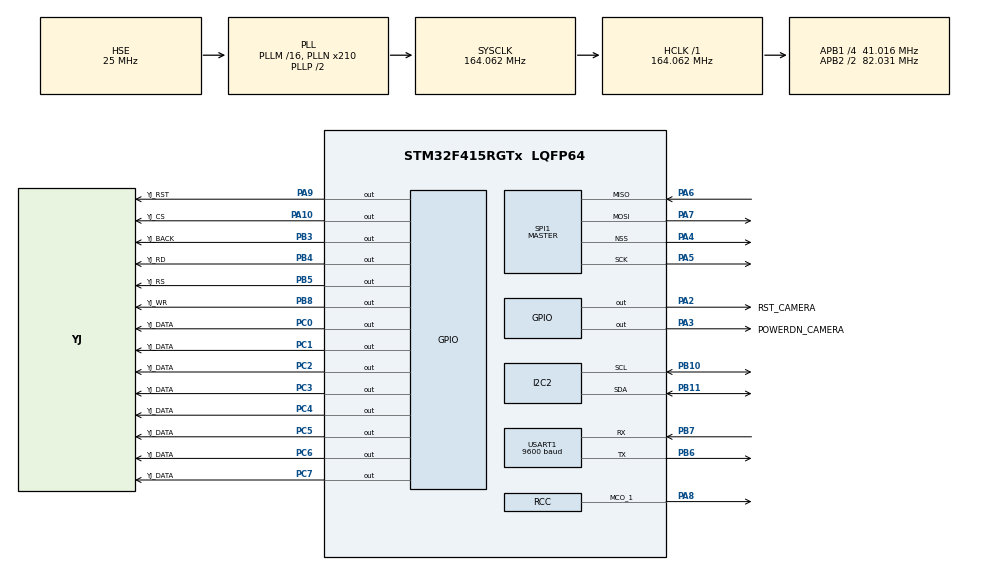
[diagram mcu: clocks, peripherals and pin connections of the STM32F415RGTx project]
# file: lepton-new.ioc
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Mcu.Family=STM32F4
Mcu.Name=STM32F415RGTx
Mcu.Package=LQFP64
NVIC.PriorityGroup=NVIC_PRIORITYGROUP_4
NVIC.TIM7_IRQn=true\:0\:0\:false\:false\:true
PA10.GPIO_Label=YJ_CS
PA10.GPIO_PuPd=GPIO_PULLUP
PA10.GPIO_Speed=GPIO_SPEED_FREQ_HIGH
PA10.Signal=GPIO_Output
PA2.GPIO_Label=RST_CAMERA
PA2.GPIO_PuPd=GPIO_PULLUP
PA2.GPIO_Speed=GPIO_SPEED_FREQ_HIGH
PA2.Signal=GPIO_Output
PA3.GPIO_Label=POWERDN_CAMERA
PA3.GPIO_PuPd=GPIO_PULLUP
PA3.GPIO_Speed=GPIO_SPEED_FREQ_HIGH
PA3.Signal=GPIO_Output
PA4.Mode=NSS_Signal_Hard_Output
PA4.Signal=SPI1_NSS
PA5.Mode=Full_Duplex_Master
PA5.Signal=SPI1_SCK
PA6.Mode=Full_Duplex_Master
PA6.Signal=SPI1_MISO
PA7.Mode=Full_Duplex_Master
PA7.Signal=SPI1_MOSI
PA8.Mode=Clock-out-1
PA8.Signal=RCC_MCO_1
PA9.GPIO_Label=YJ_RST
PA9.GPIO_PuPd=GPIO_PULLUP
PA9.GPIO_Speed=GPIO_SPEED_FREQ_HIGH
PA9.Signal=GPIO_Output
PB10.Mode=I2C
PB10.Signal=I2C2_SCL
PB11.Mode=I2C
PB11.Signal=I2C2_SDA
PB3.GPIO_Label=YJ_BACK
PB3.GPIO_PuPd=GPIO_PULLUP
PB3.GPIO_Speed=GPIO_SPEED_FREQ_HIGH
PB3.Signal=GPIO_Output
PB4.GPIO_Label=YJ_RD
PB4.GPIO_PuPd=GPIO_PULLUP
PB4.GPIO_Speed=GPIO_SPEED_FREQ_HIGH
PB4.Signal=GPIO_Output
PB5.GPIO_Label=YJ_RS
PB5.GPIO_PuPd=GPIO_PULLUP
PB5.GPIO_Speed=GPIO_SPEED_FREQ_HIGH
PB5.Signal=GPIO_Output
PB6.Mode=Asynchronous
PB6.Signal=USART1_TX
PB7.Mode=Asynchronous
PB7.Signal=USART1_RX
PB8.GPIO_Label=YJ_WR
PB8.GPIO_PuPd=GPIO_PULLUP
PB8.GPIO_Speed=GPIO_SPEED_FREQ_HIGH
PB8.Signal=GPIO_Output
PC0.GPIO_Label=YJ_DATA
PC0.GPIO_PuPd=GPIO_PULLUP
PC0.GPIO_Speed=GPIO_SPEED_FREQ_HIGH
PC0.Signal=GPIO_Output
PC1.GPIO_Label=YJ_DATA
PC1.GPIO_PuPd=GPIO_PULLUP
PC1.GPIO_Speed=GPIO_SPEED_FREQ_HIGH
PC1.Signal=GPIO_Output
PC2.GPIO_Label=YJ_DATA
PC2.GPIO_PuPd=GPIO_PULLUP
PC2.GPIO_Speed=GPIO_SPEED_FREQ_HIGH
PC2.Signal=GPIO_Output
PC3.GPIO_Label=YJ_DATA
PC3.GPIO_PuPd=GPIO_PULLUP
PC3.GPIO_Speed=GPIO_SPEED_FREQ_HIGH
PC3.Signal=GPIO_Output
PC4.GPIO_Label=YJ_DATA
PC4.GPIO_PuPd=GPIO_PULLUP
PC4.GPIO_Speed=GPIO_SPEED_FREQ_HIGH
PC4.Signal=GPIO_Output
PC5.GPIO_Label=YJ_DATA
PC5.GPIO_PuPd=GPIO_PULLUP
PC5.GPIO_Speed=GPIO_SPEED_FREQ_HIGH
PC5.Signal=GPIO_Output
PC6.GPIO_Label=YJ_DATA
PC6.GPIO_PuPd=GPIO_PULLUP
PC6.GPIO_Speed=GPIO_SPEED_FREQ_HIGH
PC6.Signal=GPIO_Output
PC7.GPIO_Label=YJ_DATA
PC7.GPIO_PuPd=GPIO_PULLUP
PC7.GPIO_Speed=GPIO_SPEED_FREQ_HIGH
PC7.Signal=GPIO_Output
PH0-OSC_IN.Mode=HSE-External-Oscillator
PH0-OSC_IN.Signal=RCC_OSC_IN
PH1-OSC_OUT.Mode=HSE-External-Oscillator
PH1-OSC_OUT.Signal=RCC_OSC_OUT
ProjectManager.HeapSize=0x200
ProjectManager.StackSize=0x400
ProjectManager.TargetToolchain=MDK-ARM V5
RCC.48MHZClocksFreq_Value=82031250
RCC.AHBFreq_Value=164062500
RCC.APB1CLKDivider=RCC_HCLK_DIV4
RCC.APB1Freq_Value=41015625
RCC.APB1TimFreq_Value=82031250
RCC.APB2CLKDivider=RCC_HCLK_DIV2
RCC.APB2Freq_Value=82031250
RCC.APB2TimFreq_Value=164062500
RCC.CortexFreq_Value=164062500
RCC.EnbaleCSS=true
RCC.HCLKFreq_Value=164062500
RCC.HSE_VALUE=25000000
RCC.HSI_VALUE=16000000
RCC.LSE_VALUE=32768
RCC.PLLN=210
RCC.PLLSourceVirtual=RCC_PLLSOURCE_HSE
RCC.RCC_MCO1Source=RCC_MCO1SOURCE_HSE
RCC.SYSCLKFreq_VALUE=164062500
RCC.SYSCLKSource=RCC_SYSCLKSOURCE_PLLCLK
RCC.VCOOutputFreq_Value=328125000
SPI1.BaudRatePrescaler=SPI_BAUDRATEPRESCALER_8
SPI1.CLKPhase=SPI_PHASE_2EDGE
SPI1.CLKPolarity=SPI_POLARITY_HIGH
SPI1.CalculateBaudRate=10.253906 MBits/s
SPI1.DataSize=SPI_DATASIZE_16BIT
SPI1.Mode=SPI_MODE_MASTER
SPI1.VirtualNSS=VM_NSSHARD
TIM7.Period=4000
TIM7.Prescaler=8400
USART1.BaudRate=9600
USART1.OverSampling=UART_OVERSAMPLING_8
VP_TIM7_VS_ClockSourceINT.Mode=Enable_Timer
board=lepton-new

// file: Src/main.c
/**
  ******************************************************************************
  * File Name          : main.c
  * Description        : Main program body
  ******************************************************************************
  *
  * COPYRIGHT(c) 2016 STMicroelectronics
  *
  * Redistribution and use in source and binary forms, with or without modification,
  * are permitted provided that the following conditions are met:
  *   1. Redistributions of source code must retain the above copyright notice,
  *      this list of conditions and the following disclaimer.
  *   2. Redistributions in binary form must reproduce the above copyright notice,
  *      this list of conditions and the following disclaimer in the documentation
  *      and/or other materials provided with the distribution.
  *   3. Neither the name of STMicroelectronics nor the names of its contributors
  *      may be used to endorse or promote products derived from this software
  *      without specific prior written permission.
  *
  * THIS SOFTWARE IS PROVIDED BY THE COPYRIGHT HOLDERS AND CONTRIBUTORS "AS IS"
  * AND ANY EXPRESS OR IMPLIED WARRANTIES, INCLUDING, BUT NOT LIMITED TO, THE
  * IMPLIED WARRANTIES OF MERCHANTABILITY AND FITNESS FOR A PARTICULAR PURPOSE ARE
  * DISCLAIMED. IN NO EVENT SHALL THE COPYRIGHT HOLDER OR CONTRIBUTORS BE LIABLE
  * FOR ANY DIRECT, INDIRECT, INCIDENTAL, SPECIAL, EXEMPLARY, OR CONSEQUENTIAL
  * DAMAGES (INCLUDING, BUT NOT LIMITED TO, PROCUREMENT OF SUBSTITUTE GOODS OR
  * SERVICES; LOSS OF USE, DATA, OR PROFITS; OR BUSINESS INTERRUPTION) HOWEVER
  * CAUSED AND ON ANY THEORY OF LIABILITY, WHETHER IN CONTRACT, STRICT LIABILITY,
  * OR TORT (INCLUDING NEGLIGENCE OR OTHERWISE) ARISING IN ANY WAY OUT OF THE USE
  * OF THIS SOFTWARE, EVEN IF ADVISED OF THE POSSIBILITY OF SUCH DAMAGE.
  *
  ******************************************************************************
  */
#include "stm32f4xx_hal.h"

/* USER CODE BEGIN Includes */

#include "stm32f4xx_it.h"
#include "TL1771_Driver.h"
#include "config.h"
#include "lepton_driver.h"
#include "LEPTON_SDK.h"
#include "LEPTON_SYS.h"
#include "lepton_i2c.h"
#include "LEPTON_I2C_REG.h"
#include "stdio.h"
#include "LEPTON_AGC.h"
#include "img_process.h"
#include "template_match.h"
#include "radon.h"

/* USER CODE END Includes */

I2C_HandleTypeDef hi2c2;

SPI_HandleTypeDef hspi1;

TIM_HandleTypeDef htim7;

UART_HandleTypeDef huart1;

/* USER CODE BEGIN PV */
/* Private variables ---------------------------------------------------------*/

const uint16_t imageT1[60][80]={
{0,0,0,0,0,0,0,0,0,0,0,0,0,0,0,0,0,0,0,0,0,0,0,0,0,0,0,0,0,0,0,0,0,0,0,0,0,0,0,0,0,0,0,0,0,0,0,0,0,0,0,0,0,0,0,0,0,0,0,0,0,0,0,0,0,0,0,0,0,0,0,0,0,0,0,0,0,0,0,0},
{0,0,0,0,0,0,0,0,0,0,0,0,0,0,0,0,0,0,0,0,0,0,0,0,0,0,0,0,0,0,0,0,0,0,0,0,0,0,0,0,0,0,0,0,0,0,0,0,0,0,0,0,0,0,0,0,0,0,0,0,0,0,0,0,0,0,0,0,0,0,0,0,0,0,0,0,0,0,0,0},
{0,0,0,0,0,0,0,0,0,0,0,0,0,0,0,0,0,0,0,0,0,0,0,0,0,0,0,0,0,0,0,0,0,0,0,0,0,0,0,0,0,0,0,0,0,0,0,0,0,0,0,0,0,0,0,0,0,0,0,0,0,0,0,0,0,0,0,0,0,0,0,0,0,0,0,0,0,0,0,0},
{0,0,0,0,0,0,0,0,0,0,0,0,0,0,0,0,0,0,0,0,0,0,0,0,0,0,0,0,0,0,0,0,0,0,0,0,0,0,0,0,0,0,0,0,0,0,0,0,0,0,0,0,0,0,0,0,0,0,0,0,0,0,0,0,0,0,0,0,0,0,0,0,0,0,0,0,0,0,0,0},
{0,0,0,0,0,0,0,0,0,0,0,0,0,0,0,0,0,0,0,0,0,0,0,0,0,0,0,0,0,0,0,0,0,0,0,0,0,0,0,0,0,0,0,0,0,0,0,0,0,0,0,0,0,0,0,0,0,0,0,0,0,0,0,0,0,0,0,0,0,0,0,0,0,0,0,0,0,0,0,0},
{0,0,0,0,0,0,0,0,0,0,0,0,0,0,0,0,0,0,0,0,0,0,0,0,0,0,0,0,0,0,0,0,0,0,0,0,0,0,0,0,0,0,0,0,0,0,0,0,0,0,0,0,0,0,0,0,0,0,0,0,0,0,0,0,0,0,0,0,0,0,0,0,0,0,0,0,0,0,0,0},
{0,0,0,0,0,0,0,0,0,0,0,0,0,0,0,0,0,0,0,0,0,0,0,0,0,0,0,0,0,0,0,0,0,0,0,0,0,0,0,0,0,0,0,0,0,0,0,0,0,0,0,0,0,0,0,0,0,0,0,0,0,0,0,0,0,0,0,0,0,0,0,0,0,0,0,0,0,0,0,0},
{0,0,0,0,0,0,0,0,0,0,0,0,0,0,0,0,0,0,0,0,0,0,0,0,0,0,0,0,0,0,0,0,0,0,0,0,0,0,0,0,0,0,0,0,0,0,0,0,0,0,0,0,0,0,0,0,0,0,0,0,0,0,0,0,0,0,0,0,0,0,0,0,0,0,0,0,0,0,0,0},
{0,0,0,0,0,0,0,0,0,0,0,0,0,0,0,0,0,0,0,0,0,0,0,0,0,0,0,0,0,0,0,0,0,0,0,0,0,0,0,0,0,0,0,0,0,0,0,0,0,0,0,0,0,0,0,0,0,0,0,0,0,0,0,0,0,0,0,0,0,0,0,0,0,0,0,0,0,0,0,0},
{0,0,0,0,0,0,0,0,0,0,0,0,0,0,0,0,0,0,0,0,0,0,0,0,0,0,0,0,0,0,0,0,0,0,0,0,0,0,0,0,0,0,0,0,0,0,0,0,0,0,0,0,0,0,0,0,0,0,0,0,0,0,0,0,0,0,0,0,0,0,0,0,0,0,0,0,0,0,0,0},
{0,0,0,0,0,0,0,0,0,0,0,0,0,0,0,0,0,0,0,0,0,0,0,0,0,0,0,0,0,0,0,0,0,0,0,0,0,0,0,0,0,0,0,0,0,0,0,0,0,0,0,0,0,0,0,0,0,0,0,0,0,0,0,0,0,0,0,0,0,0,0,0,0,0,0,0,0,0,0,0},
{0,0,0,0,0,0,0,0,0,0,0,0,0,0,0,0,0,0,0,0,0,0,0,0,0,0,0,1,1,1,0,0,0,0,0,0,0,0,0,0,0,0,0,0,0,0,0,0,0,0,0,0,0,0,0,0,0,0,0,0,0,0,0,0,0,0,0,0,0,0,0,0,0,0,0,0,0,0,0,0},
{0,0,0,0,0,0,0,0,0,0,0,0,0,0,0,0,0,0,0,0,0,0,0,0,0,0,1,1,1,1,0,0,0,0,0,0,0,0,0,0,0,0,0,0,0,0,0,0,0,0,0,0,0,0,0,0,0,0,0,0,0,0,0,0,0,0,0,0,0,0,0,0,0,0,0,0,0,0,0,0},
{0,0,0,0,0,0,0,0,0,0,0,0,0,0,0,0,0,0,0,0,0,0,0,0,1,1,1,1,1,0,0,0,0,0,0,0,0,0,0,0,0,0,0,0,0,0,0,0,0,0,0,0,0,0,0,0,0,0,0,0,0,0,0,0,0,0,0,0,0,0,0,0,0,0,0,0,0,0,0,0},
{0,0,0,0,0,0,0,0,0,0,0,0,0,0,0,0,0,0,0,0,0,0,1,1,1,1,1,0,0,0,0,0,0,0,0,0,0,0,0,0,0,0,0,0,0,0,0,0,0,0,0,0,0,0,0,0,0,0,0,0,0,0,0,0,0,0,0,0,0,0,0,0,0,0,0,0,0,0,0,0},
{0,0,0,0,0,0,0,0,0,0,0,0,0,0,0,0,0,0,0,0,0,1,1,1,1,0,0,0,0,0,0,0,0,0,0,0,0,0,0,0,0,0,0,0,0,0,0,0,0,0,0,0,0,0,0,0,0,0,0,0,0,0,0,0,0,0,0,0,0,0,0,0,0,0,0,0,0,0,0,0},
{0,0,0,0,0,0,0,0,0,0,0,0,0,0,0,0,0,0,0,1,1,1,1,1,0,0,0,0,0,0,0,0,0,0,0,0,0,0,0,0,0,0,0,0,0,0,0,0,0,0,0,0,0,0,0,0,0,0,0,0,0,0,0,0,0,0,0,0,0,0,0,0,0,0,0,0,0,0,0,0},
{0,0,0,0,0,0,0,0,0,0,0,0,0,0,0,0,0,1,1,1,1,1,1,1,1,0,0,0,0,0,0,0,0,0,0,0,0,0,0,0,0,0,0,0,0,0,0,0,0,0,0,0,0,0,0,0,0,0,0,0,0,0,0,0,0,0,0,0,0,0,0,0,0,0,0,0,0,0,0,0},
{0,0,0,0,0,0,0,0,0,0,0,0,0,0,0,0,1,1,1,1,0,1,1,1,1,0,0,0,0,0,0,0,0,0,0,0,0,0,0,0,0,0,0,0,0,0,0,0,0,0,0,0,0,0,0,0,0,0,0,0,0,0,0,0,0,0,0,0,0,0,0,0,0,0,0,0,0,0,0,0},
{0,0,0,0,0,0,0,0,0,0,0,0,0,0,1,1,1,1,1,0,0,0,1,1,1,1,0,0,0,0,0,0,0,0,0,0,0,0,0,0,0,0,0,0,0,0,0,0,0,0,0,0,0,0,0,0,0,0,0,0,0,0,0,0,0,0,0,0,0,0,0,0,0,0,0,0,0,0,0,0},
{0,0,0,0,0,0,0,0,0,0,0,0,0,0,1,1,1,0,0,0,0,0,1,1,1,1,1,0,0,0,0,0,0,0,0,0,0,0,0,0,0,0,0,0,0,0,0,0,0,0,0,0,0,0,0,0,0,0,0,0,0,0,0,0,0,0,0,0,0,0,0,0,0,0,0,0,0,0,0,0},
{0,0,0,0,0,0,0,0,0,0,0,0,0,0,1,1,0,0,0,0,0,0,0,1,1,1,1,0,0,0,0,0,0,0,0,0,0,0,0,0,0,0,0,0,0,0,0,0,0,0,0,0,0,0,0,0,0,0,0,0,0,0,0,0,0,0,0,0,0,0,0,0,0,0,0,0,0,0,0,0},
{0,0,0,0,0,0,0,0,0,0,0,0,0,0,0,0,0,0,0,0,0,0,0,0,1,1,1,1,0,0,0,0,0,0,0,0,0,0,0,0,0,0,0,0,0,0,0,0,0,0,0,0,0,0,0,0,0,0,0,0,0,0,0,0,0,0,0,0,0,0,0,0,0,0,0,0,0,0,0,0},
{0,0,0,0,0,0,0,0,0,0,0,0,0,0,0,0,0,0,0,0,0,0,0,0,1,1,1,1,1,0,0,0,0,0,0,0,0,0,0,0,0,0,0,0,0,0,0,0,0,0,0,0,0,0,0,0,0,0,0,0,0,0,0,0,0,0,0,0,0,0,0,0,0,0,0,0,0,0,0,0},
{0,0,0,0,0,0,0,0,0,0,0,0,0,0,0,0,0,0,0,0,0,0,0,0,0,1,1,1,1,0,0,0,0,0,0,0,0,0,0,0,0,0,0,0,0,0,0,0,0,0,0,0,0,0,0,0,0,0,0,0,0,0,0,0,0,0,0,0,0,0,0,0,0,0,0,0,0,0,0,0},
{0,0,0,0,0,0,0,0,0,0,0,0,0,0,0,0,0,0,0,0,0,0,0,0,0,1,1,1,1,1,0,0,0,0,0,0,0,0,0,0,0,0,0,0,0,0,0,0,0,0,0,0,0,0,0,0,0,0,0,0,0,0,0,0,0,0,0,0,0,0,0,0,0,0,0,0,0,0,0,0},
{0,0,0,0,0,0,0,0,0,0,0,0,0,0,0,0,0,0,0,0,0,0,0,0,0,0,1,1,1,1,0,0,0,0,0,0,0,0,0,0,0,0,0,0,0,0,0,0,0,0,0,0,0,0,0,0,0,0,0,0,0,0,0,0,0,0,0,0,0,0,0,0,0,0,0,0,0,0,0,0},
{0,0,0,0,0,0,0,0,0,0,0,0,0,0,0,0,0,0,0,0,0,0,0,0,0,0,0,1,1,1,1,0,0,0,0,0,0,0,0,0,0,0,0,0,0,0,0,0,0,0,0,0,0,0,0,0,0,0,0,0,0,0,0,0,0,0,0,0,0,0,0,0,0,0,0,0,0,0,0,0},
{0,0,0,0,0,0,0,0,0,0,0,0,0,0,0,0,0,0,0,0,0,0,0,0,0,0,0,1,1,1,1,1,0,0,0,0,0,0,0,0,0,0,0,0,0,0,0,0,0,0,0,0,0,0,0,0,0,0,0,0,0,0,0,0,0,0,0,0,0,0,0,0,0,0,0,0,0,0,0,0},
{0,0,0,0,0,0,0,0,0,0,0,0,0,0,0,0,0,0,0,0,0,0,0,0,0,0,0,0,1,1,1,1,0,0,0,0,0,0,0,0,0,0,0,0,0,0,0,0,0,0,0,0,0,0,0,0,0,0,0,0,0,0,0,0,0,0,0,0,0,0,0,0,0,0,0,0,0,0,0,0},
{0,0,0,0,0,0,0,0,0,0,0,0,0,0,0,0,0,0,0,0,0,0,0,0,0,0,0,0,0,1,1,1,0,0,0,0,0,0,0,0,0,0,0,0,0,0,0,0,0,0,0,0,0,0,0,0,0,0,0,0,0,0,0,0,0,0,0,0,0,0,0,0,0,0,0,0,0,0,0,0},
{0,0,0,0,0,0,0,0,0,0,0,0,0,0,0,0,0,0,0,0,0,0,0,0,0,0,0,0,0,1,0,0,0,0,0,0,0,0,0,0,0,0,0,0,0,0,0,0,0,0,0,0,0,0,0,0,0,0,0,0,0,0,0,0,0,0,0,0,0,0,0,0,0,0,0,0,0,0,0,0},
{0,0,0,0,0,0,0,0,0,0,0,0,0,0,0,0,0,0,0,0,0,0,0,0,0,0,0,0,0,0,0,0,0,0,0,0,0,0,0,0,0,0,0,0,0,0,0,0,0,0,0,0,0,0,0,0,0,0,0,0,0,0,0,0,0,0,0,0,0,0,0,0,0,0,0,0,0,0,0,0},
{0,0,0,0,0,0,0,0,0,0,0,0,0,0,0,0,0,0,0,0,0,0,0,0,0,0,0,0,0,0,0,0,0,0,0,0,0,0,0,0,0,0,0,0,0,0,0,0,0,0,0,0,0,0,0,0,0,0,0,0,0,0,0,0,0,0,0,0,0,0,0,0,0,0,0,0,0,0,0,0},
{0,0,0,0,0,0,0,0,0,0,0,0,0,0,0,0,0,0,0,0,0,0,0,0,0,0,0,0,0,0,0,0,0,0,0,0,0,0,0,0,0,0,0,0,0,0,0,0,0,0,0,0,0,0,0,0,0,0,0,0,0,0,0,0,0,0,0,0,0,0,0,0,0,0,0,0,0,0,0,0},
{0,0,0,0,0,0,0,0,0,0,0,0,0,0,0,0,0,0,0,0,0,0,0,0,0,0,0,0,0,0,0,0,0,0,0,0,0,0,0,0,0,0,0,0,0,0,0,0,0,0,0,0,0,0,0,0,0,0,0,0,0,0,0,0,0,0,0,0,0,0,0,0,0,0,0,0,0,0,0,0},
{0,0,0,0,0,0,0,0,0,0,0,0,0,0,0,0,0,0,0,0,0,0,0,0,0,0,0,0,0,0,0,0,0,0,0,0,0,0,0,0,0,0,0,0,0,0,0,0,0,0,0,0,0,0,0,0,0,0,0,0,0,0,0,0,0,0,0,0,0,0,0,0,0,0,0,0,0,0,0,0},
{0,0,0,0,0,0,0,0,0,0,0,0,0,0,0,0,0,0,0,0,0,0,0,0,0,0,0,0,0,0,0,0,0,0,0,0,0,0,0,0,0,0,0,0,0,0,0,0,0,0,0,0,0,0,0,0,0,0,0,0,0,0,0,0,0,0,0,0,0,0,0,0,0,0,0,0,0,0,0,0},
{0,0,0,0,0,0,0,0,0,0,0,0,0,0,0,0,0,0,0,0,0,0,0,0,0,0,0,0,0,0,0,0,0,0,0,0,0,0,0,0,0,0,0,0,0,0,0,0,0,0,0,0,0,0,0,0,0,0,0,0,0,0,0,0,0,0,0,0,0,0,0,0,0,0,0,0,0,0,0,0},
{0,0,0,0,0,0,0,0,0,0,0,0,0,0,0,0,0,0,0,0,0,0,0,0,0,0,0,0,0,0,0,0,0,0,0,0,0,0,0,0,0,0,0,0,0,0,0,0,0,0,0,0,0,0,0,0,0,0,0,0,0,0,0,0,0,0,0,0,0,0,0,0,0,0,0,0,0,0,0,0},
{0,0,0,0,0,0,0,0,0,0,0,0,0,0,0,0,0,0,0,0,0,0,0,0,0,0,0,0,0,0,0,0,0,0,0,0,0,0,0,0,0,0,0,0,0,0,0,0,0,0,0,0,0,0,0,0,0,0,0,0,0,0,0,0,0,0,0,0,0,0,0,0,0,0,0,0,0,0,0,0},
{0,0,0,0,0,0,0,0,0,0,0,0,0,0,0,0,0,0,0,0,0,0,0,0,0,0,0,0,0,0,0,0,0,0,0,0,0,0,0,0,0,0,0,0,0,0,0,0,0,0,0,0,0,0,0,0,0,0,0,0,0,0,0,0,0,0,0,0,0,0,0,0,0,0,0,0,0,0,0,0},
{0,0,0,0,0,0,0,0,0,0,0,0,0,0,0,0,0,0,0,0,0,0,0,0,0,0,0,0,0,0,0,0,0,0,0,0,0,0,0,0,0,0,0,0,0,0,0,0,0,0,0,0,0,0,0,0,0,0,0,0,0,0,0,0,0,0,0,0,0,0,0,0,0,0,0,0,0,0,0,0},
{0,0,0,0,0,0,0,0,0,0,0,0,0,0,0,0,0,0,0,0,0,0,0,0,0,0,0,0,0,0,0,0,0,0,0,0,0,0,0,0,0,0,0,0,0,0,0,0,0,0,0,0,0,0,0,0,0,0,0,0,0,0,0,0,0,0,0,0,0,0,0,0,0,0,0,0,0,0,0,0},
{0,0,0,0,0,0,0,0,0,0,0,0,0,0,0,0,0,0,0,0,0,0,0,0,0,0,0,0,0,0,0,0,0,0,0,0,0,0,0,0,0,0,0,0,0,0,0,0,0,0,0,0,0,0,0,0,0,0,0,0,0,0,0,0,0,0,0,0,0,0,0,0,0,0,0,0,0,0,0,0},
{0,0,0,0,0,0,0,0,0,0,0,0,0,0,0,0,0,0,0,0,0,0,0,0,0,0,0,0,0,0,0,0,0,0,0,0,0,0,0,0,0,0,0,0,0,0,0,0,0,0,0,0,0,0,0,0,0,0,0,0,0,0,0,0,0,0,0,0,0,0,0,0,0,0,0,0,0,0,0,0},
{0,0,0,0,0,0,0,0,0,0,0,0,0,0,0,0,0,0,0,0,0,0,0,0,0,0,0,0,0,0,0,0,0,0,0,0,0,0,0,0,0,0,0,0,0,0,0,0,0,0,0,0,0,0,0,0,0,0,0,0,0,0,0,0,0,0,0,0,0,0,0,0,0,0,0,0,0,0,0,0},
{0,0,0,0,0,0,0,0,0,0,0,0,0,0,0,0,0,0,0,0,0,0,0,0,0,0,0,0,0,0,0,0,0,0,0,0,0,0,0,0,0,0,0,0,0,0,0,0,0,0,0,0,0,0,0,0,0,0,0,0,0,0,0,0,0,0,0,0,0,0,0,0,0,0,0,0,0,0,0,0},
{0,0,0,0,0,0,0,0,0,0,0,0,0,0,0,0,0,0,0,0,0,0,0,0,0,0,0,0,0,0,0,0,0,0,0,0,0,0,0,0,0,0,0,0,0,0,0,0,0,0,0,0,0,0,0,0,0,0,0,0,0,0,0,0,0,0,0,0,0,0,0,0,0,0,0,0,0,0,0,0},
{0,0,0,0,0,0,0,0,0,0,0,0,0,0,0,0,0,0,0,0,0,0,0,0,0,0,0,0,0,0,0,0,0,0,0,0,0,0,0,0,0,0,0,0,0,0,0,0,0,0,0,0,0,0,0,0,0,0,0,0,0,0,0,0,0,0,0,0,0,0,0,0,0,0,0,0,0,0,0,0},
{0,0,0,0,0,0,0,0,0,0,0,0,0,0,0,0,0,0,0,0,0,0,0,0,0,0,0,0,0,0,0,0,0,0,0,0,0,0,0,0,0,0,0,0,0,0,0,0,0,0,0,0,0,0,0,0,0,0,0,0,0,0,0,0,0,0,0,0,0,0,0,0,0,0,0,0,0,0,0,0},
{0,0,0,0,0,0,0,0,0,0,0,0,0,0,0,0,0,0,0,0,0,0,0,0,0,0,0,0,0,0,0,0,0,0,0,0,0,0,0,0,0,0,0,0,0,0,0,0,0,0,0,0,0,0,0,0,0,0,0,0,0,0,0,0,0,0,0,0,0,0,0,0,0,0,0,0,0,0,0,0},
{0,0,0,0,0,0,0,0,0,0,0,0,0,0,0,0,0,0,0,0,0,0,0,0,0,0,0,0,0,0,0,0,0,0,0,0,0,0,0,0,0,0,0,0,0,0,0,0,0,0,0,0,0,0,0,0,0,0,0,0,0,0,0,0,0,0,0,0,0,0,0,0,0,0,0,0,0,0,0,0},
{0,0,0,0,0,0,0,0,0,0,0,0,0,0,0,0,0,0,0,0,0,0,0,0,0,0,0,0,0,0,0,0,0,0,0,0,0,0,0,0,0,0,0,0,0,0,0,0,0,0,0,0,0,0,0,0,0,0,0,0,0,0,0,0,0,0,0,0,0,0,0,0,0,0,0,0,0,0,0,0},
{0,0,0,0,0,0,0,0,0,0,0,0,0,0,0,0,0,0,0,0,0,0,0,0,0,0,0,0,0,0,0,0,0,0,0,0,0,0,0,0,0,0,0,0,0,0,0,0,0,0,0,0,0,0,0,0,0,0,0,0,0,0,0,0,0,0,0,0,0,0,0,0,0,0,0,0,0,0,0,0},
{0,0,0,0,0,0,0,0,0,0,0,0,0,0,0,0,0,0,0,0,0,0,0,0,0,0,0,0,0,0,0,0,0,0,0,0,0,0,0,0,0,0,0,0,0,0,0,0,0,0,0,0,0,0,0,0,0,0,0,0,0,0,0,0,0,0,0,0,0,0,0,0,0,0,0,0,0,0,0,0},
{0,0,0,0,0,0,0,0,0,0,0,0,0,0,0,0,0,0,0,0,0,0,0,0,0,0,0,0,0,0,0,0,0,0,0,0,0,0,0,0,0,0,0,0,0,0,0,0,0,0,0,0,0,0,0,0,0,0,0,0,0,0,0,0,0,0,0,0,0,0,0,0,0,0,0,0,0,0,0,0},
{0,0,0,0,0,0,0,0,0,0,0,0,0,0,0,0,0,0,0,0,0,0,0,0,0,0,0,0,0,0,0,0,0,0,0,0,0,0,0,0,0,0,0,0,0,0,0,0,0,0,0,0,0,0,0,0,0,0,0,0,0,0,0,0,0,0,0,0,0,0,0,0,0,0,0,0,0,0,0,0},
{0,0,0,0,0,0,0,0,0,0,0,0,0,0,0,0,0,0,0,0,0,0,0,0,0,0,0,0,0,0,0,0,0,0,0,0,0,0,0,0,0,0,0,0,0,0,0,0,0,0,0,0,0,0,0,0,0,0,0,0,0,0,0,0,0,0,0,0,0,0,0,0,0,0,0,0,0,0,0,0},
{0,0,0,0,0,0,0,0,0,0,0,0,0,0,0,0,0,0,0,0,0,0,0,0,0,0,0,0,0,0,0,0,0,0,0,0,0,0,0,0,0,0,0,0,0,0,0,0,0,0,0,0,0,0,0,0,0,0,0,0,0,0,0,0,0,0,0,0,0,0,0,0,0,0,0,0,0,0,0,0},
};

/* USER CODE END PV */

void SystemClock_Config(void);
static void MX_GPIO_Init(void);
static void MX_I2C2_Init(void);
static void MX_SPI1_Init(void);
static void MX_USART1_UART_Init(void);
static void MX_TIM7_Init(void);

/* USER CODE BEGIN PFP */
/* Private function prototypes -----------------------------------------------*/

int fputc(int ch,FILE *p)
{
	uint8_t ch1;
	ch1 = (uint8_t)ch;
	HAL_UART_Transmit(&huart1,&ch1,1,20);
	return 1;
}

/* USER CODE END PFP */

/* USER CODE BEGIN 0 */
uint16_t rawIMG[80][80];
LEP_CAMERA_PORT_DESC_T hport_desc;

/////////////////radon transform////////////////
float radonRawOut[103*46];
float radonRawIn[4800];
const uint8_t theta[46]={0,4,8,12,16,20,24,28,32,36,40,44,48,52,56,60,64,68,72,76,80,84,88,92,96,100,104,108,112,116,120,124,128,132,136,140,144,148,152,156,160,164,168,172,176,180};
LINE line1,line2;
float k1,k2,b1,b2;
float y1[80],y2[80];
uint8_t	test_dst = 5;
uint16_t srcbin[60][80];
POINT cross,test1_left,test1_right,test2_left,test2_right;
////////////////////////////////////////////////

/* USER CODE END 0 */

int main(void)
{

  /* USER CODE BEGIN 1 */

	uint8_t Y,X;
	uint8_t data[2];
	int i,j;
	uint16_t reg;

  /* USER CODE END 1 */

  /* MCU Configuration----------------------------------------------------------*/

  /* Reset of all peripherals, Initializes the Flash interface and the Systick. */
  HAL_Init();

  /* Configure the system clock */
  SystemClock_Config();

  /* Initialize all configured peripherals */
  MX_GPIO_Init();
  MX_I2C2_Init();
  MX_SPI1_Init();
  MX_USART1_UART_Init();
  MX_TIM7_Init();

  /* USER CODE BEGIN 2 */

	LCD_Init();
	Lepton_Init();
	HAL_GPIO_WritePin(GPIOA,GPIO_PIN_7,GPIO_PIN_RESET);

  /* USER CODE END 2 */

  /* Infinite loop */
  /* USER CODE BEGIN WHILE */

	LCD_SetWindos(0,0,127,160);
	LCD_Clear(BLACK);

	LCD_SetWindos(0,154,127,159);

	hport_desc.deviceAddress=0x2A;
	hport_desc.portBaudRate=100;
	hport_desc.portID = 0;

	HAL_Delay(500);

	reg=LEP_I2C_STATUS_REG;
	data[0] = (reg >> 8 & 0xff);
	data[1] = (reg & 0xff);

	init_lepton_command_interface();
	enable_lepton_agc();

	HAL_Delay(500);
	//启动定时器
	//HAL_TIM_Base_Start_IT(&htim7);

  while (1)
  {
  /* USER CODE END WHILE */

  /* USER CODE BEGIN 3 */

		Frametransfer();
		printf("OK\r\n");

		LCD_SetWindos(0,81,80,160);
		for(Y=0;Y<60;Y++)
			for(X=0;X<80;X++)
			{
				LCD_Write_Data(TermoClr(rawIMG[Y][X],0,65535));
			}

//			////////////////radon transform/////////////
			for(i = 0;i < 60; i++)
				for(j = 0; j < 80; j++)
				{
						srcbin[i][j] = imageT1[i][j];
						//srcbin[i][j] = rawIMG[i][j]>50000?1:0;
						radonRawIn[i*80+j] = srcbin[i][j];
				}

			for(i = 0;i < 103*46;i++)
				radonRawOut[i] = 0;
//
			radon(radonRawOut, radonRawIn, theta, 80, 60, 29, 39, 46, -51, 103);
//
				line1 = radonLine(radonRawOut)[0];
				line2 = radonLine(radonRawOut)[1];

			k1 = line1.k;
			b1 = line1.b;
			k2 = line2.k;
			b2 = line2.b;

				//////////////////////////////
				cross.x = (int)((line2.b - line1.b)/(line1.k - line2.k) + 40);
				cross.y = (int)(-line1.k * ((float)cross.x - 40) - line1.b + 30);

				if(line2.theta - line1.theta > 70 && line2.theta - line1.theta < 110)
				{
					Cross_point(srcbin,cross.x,cross.y,GREEN);
					for (int x = 0; x < 80; x++)
					{
							y1[x] = -line1.k*((float)x - 40) - line1.b + 30;
							y2[x] = -line2.k*((float)x - 40) - line2.b + 30;

							test1_left.x = cross.x - test_dst;
							test1_left.y = (int)(y1[test1_left.x]);
							test1_right.x = cross.x + test_dst;
							test1_right.y = (int)(y1[test1_right.x]);

							test2_left.x = cross.x - test_dst;
							test2_left.y = (int)(y2[test2_left.x]);
							test2_right.x = cross.x + test_dst;
							test2_right.y = (int)(y2[test2_right.x]);

							if (srcbin[test1_left.y][test1_left.x] >= 1 && srcbin[test1_right.y][test1_right.x] >= 1)
							{
								if (srcbin[test2_left.y][test2_left.x] >= 1)
								{
									Cross_point(srcbin,test2_left.x,test2_left.y,RED);
								}
								else
								{
									Cross_point(srcbin,test2_right.x,test2_right.y,RED);
								}
							}
							else if (srcbin[test1_left.y][test1_left.x] >= 1)
							{
								Cross_point(srcbin,test1_left.x,test1_left.y,RED);
							}
							else
							{
								Cross_point(srcbin,test1_right.x,test1_right.y,RED);
							}
					}
				}

		LCD_SetWindos(0,0,59,79);
		for(Y=0;Y<60;Y++)
			for(X=0;X<80;X++)
			{
				LCD_Write_Data(srcbin[Y][X]==1?0xFFFF:srcbin[Y][X]);
			}
//**************    Radon Transform     *********************//

  }
  /* USER CODE END 3 */

}

/** System Clock Configuration
*/
void SystemClock_Config(void)
{

  RCC_OscInitTypeDef RCC_OscInitStruct;
  RCC_ClkInitTypeDef RCC_ClkInitStruct;

  __HAL_RCC_PWR_CLK_ENABLE();

  __HAL_PWR_VOLTAGESCALING_CONFIG(PWR_REGULATOR_VOLTAGE_SCALE1);

  RCC_OscInitStruct.OscillatorType = RCC_OSCILLATORTYPE_HSE;
  RCC_OscInitStruct.HSEState = RCC_HSE_ON;
  RCC_OscInitStruct.PLL.PLLState = RCC_PLL_ON;
  RCC_OscInitStruct.PLL.PLLSource = RCC_PLLSOURCE_HSE;
  RCC_OscInitStruct.PLL.PLLM = 16;
  RCC_OscInitStruct.PLL.PLLN = 210;
  RCC_OscInitStruct.PLL.PLLP = RCC_PLLP_DIV2;
  RCC_OscInitStruct.PLL.PLLQ = 4;
  HAL_RCC_OscConfig(&RCC_OscInitStruct);

  RCC_ClkInitStruct.ClockType = RCC_CLOCKTYPE_HCLK|RCC_CLOCKTYPE_SYSCLK
                              |RCC_CLOCKTYPE_PCLK1|RCC_CLOCKTYPE_PCLK2;
  RCC_ClkInitStruct.SYSCLKSource = RCC_SYSCLKSOURCE_PLLCLK;
  RCC_ClkInitStruct.AHBCLKDivider = RCC_SYSCLK_DIV1;
  RCC_ClkInitStruct.APB1CLKDivider = RCC_HCLK_DIV4;
  RCC_ClkInitStruct.APB2CLKDivider = RCC_HCLK_DIV2;
  HAL_RCC_ClockConfig(&RCC_ClkInitStruct, FLASH_LATENCY_5);

  HAL_RCC_MCOConfig(RCC_MCO1, RCC_MCO1SOURCE_HSE, RCC_MCODIV_1);

  HAL_RCC_EnableCSS();

  HAL_SYSTICK_Config(HAL_RCC_GetHCLKFreq()/1000);

  HAL_SYSTICK_CLKSourceConfig(SYSTICK_CLKSOURCE_HCLK);

  /* SysTick_IRQn interrupt configuration */
  HAL_NVIC_SetPriority(SysTick_IRQn, 0, 0);
}

/* I2C2 init function */
void MX_I2C2_Init(void)
{

  hi2c2.Instance = I2C2;
  hi2c2.Init.ClockSpeed = 100000;
  hi2c2.Init.DutyCycle = I2C_DUTYCYCLE_2;
  hi2c2.Init.OwnAddress1 = 0;
  hi2c2.Init.AddressingMode = I2C_ADDRESSINGMODE_7BIT;
  hi2c2.Init.DualAddressMode = I2C_DUALADDRESS_DISABLE;
  hi2c2.Init.OwnAddress2 = 0;
  hi2c2.Init.GeneralCallMode = I2C_GENERALCALL_DISABLE;
  hi2c2.Init.NoStretchMode = I2C_NOSTRETCH_DISABLE;
  HAL_I2C_Init(&hi2c2);

}

/* SPI1 init function */
void MX_SPI1_Init(void)
{

  hspi1.Instance = SPI1;
  hspi1.Init.Mode = SPI_MODE_MASTER;
  hspi1.Init.Direction = SPI_DIRECTION_2LINES;
  hspi1.Init.DataSize = SPI_DATASIZE_16BIT;
  hspi1.Init.CLKPolarity = SPI_POLARITY_HIGH;
  hspi1.Init.CLKPhase = SPI_PHASE_2EDGE;
  hspi1.Init.NSS = SPI_NSS_HARD_OUTPUT;
  hspi1.Init.BaudRatePrescaler = SPI_BAUDRATEPRESCALER_8;
  hspi1.Init.FirstBit = SPI_FIRSTBIT_MSB;
  hspi1.Init.TIMode = SPI_TIMODE_DISABLE;
  hspi1.Init.CRCCalculation = SPI_CRCCALCULATION_DISABLE;
  hspi1.Init.CRCPolynomial = 10;
  HAL_SPI_Init(&hspi1);

}

/* TIM7 init function */
void MX_TIM7_Init(void)
{

  TIM_MasterConfigTypeDef sMasterConfig;

  htim7.Instance = TIM7;
  htim7.Init.Prescaler = 8400;
  htim7.Init.CounterMode = TIM_COUNTERMODE_UP;
  htim7.Init.Period = 4000;
  HAL_TIM_Base_Init(&htim7);

  sMasterConfig.MasterOutputTrigger = TIM_TRGO_RESET;
  sMasterConfig.MasterSlaveMode = TIM_MASTERSLAVEMODE_DISABLE;
  HAL_TIMEx_MasterConfigSynchronization(&htim7, &sMasterConfig);

}

/* USART1 init function */
void MX_USART1_UART_Init(void)
{

  huart1.Instance = USART1;
  huart1.Init.BaudRate = 9600;
  huart1.Init.WordLength = UART_WORDLENGTH_8B;
  huart1.Init.StopBits = UART_STOPBITS_1;
  huart1.Init.Parity = UART_PARITY_NONE;
  huart1.Init.Mode = UART_MODE_TX_RX;
  huart1.Init.HwFlowCtl = UART_HWCONTROL_NONE;
  huart1.Init.OverSampling = UART_OVERSAMPLING_8;
  HAL_UART_Init(&huart1);

}

/** Configure pins as
        * Analog
        * Input
        * Output
        * EVENT_OUT
        * EXTI
     PA8   ------> RCC_MCO_1
*/
void MX_GPIO_Init(void)
{

  GPIO_InitTypeDef GPIO_InitStruct;

  /* GPIO Ports Clock Enable */
  __HAL_RCC_GPIOH_CLK_ENABLE();
  __HAL_RCC_GPIOC_CLK_ENABLE();
  __HAL_RCC_GPIOA_CLK_ENABLE();
  __HAL_RCC_GPIOB_CLK_ENABLE();

  /*Configure GPIO pin Output Level */
  HAL_GPIO_WritePin(GPIOC, YJ_DATA_Pin|YJ_DATAC1_Pin|YJ_DATAC2_Pin|YJ_DATAC3_Pin
                          |YJ_DATAC4_Pin|YJ_DATAC5_Pin|YJ_DATAC6_Pin|YJ_DATAC7_Pin, GPIO_PIN_RESET);

  /*Configure GPIO pin Output Level */
  HAL_GPIO_WritePin(GPIOA, RST_CAMERA_Pin|POWERDN_CAMERA_Pin|YJ_RST_Pin|YJ_CS_Pin, GPIO_PIN_RESET);

  /*Configure GPIO pin Output Level */
  HAL_GPIO_WritePin(GPIOB, YJ_BACK_Pin|YJ_RD_Pin|YJ_RS_Pin|YJ_WR_Pin, GPIO_PIN_RESET);

  /*Configure GPIO pins : YJ_DATA_Pin YJ_DATAC1_Pin YJ_DATAC2_Pin YJ_DATAC3_Pin
                           YJ_DATAC4_Pin YJ_DATAC5_Pin YJ_DATAC6_Pin YJ_DATAC7_Pin */
  GPIO_InitStruct.Pin = YJ_DATA_Pin|YJ_DATAC1_Pin|YJ_DATAC2_Pin|YJ_DATAC3_Pin
                          |YJ_DATAC4_Pin|YJ_DATAC5_Pin|YJ_DATAC6_Pin|YJ_DATAC7_Pin;
  GPIO_InitStruct.Mode = GPIO_MODE_OUTPUT_PP;
  GPIO_InitStruct.Pull = GPIO_PULLUP;
  GPIO_InitStruct.Speed = GPIO_SPEED_FREQ_HIGH;
  HAL_GPIO_Init(GPIOC, &GPIO_InitStruct);

  /*Configure GPIO pins : RST_CAMERA_Pin POWERDN_CAMERA_Pin YJ_RST_Pin YJ_CS_Pin */
  GPIO_InitStruct.Pin = RST_CAMERA_Pin|POWERDN_CAMERA_Pin|YJ_RST_Pin|YJ_CS_Pin;
  GPIO_InitStruct.Mode = GPIO_MODE_OUTPUT_PP;
  GPIO_InitStruct.Pull = GPIO_PULLUP;
  GPIO_InitStruct.Speed = GPIO_SPEED_FREQ_HIGH;
  HAL_GPIO_Init(GPIOA, &GPIO_InitStruct);

  /*Configure GPIO pin : PA8 */
  GPIO_InitStruct.Pin = GPIO_PIN_8;
  GPIO_InitStruct.Mode = GPIO_MODE_AF_PP;
  GPIO_InitStruct.Pull = GPIO_NOPULL;
  GPIO_InitStruct.Speed = GPIO_SPEED_FREQ_LOW;
  GPIO_InitStruct.Alternate = GPIO_AF0_MCO;
  HAL_GPIO_Init(GPIOA, &GPIO_InitStruct);

  /*Configure GPIO pins : YJ_BACK_Pin YJ_RD_Pin YJ_RS_Pin YJ_WR_Pin */
  GPIO_InitStruct.Pin = YJ_BACK_Pin|YJ_RD_Pin|YJ_RS_Pin|YJ_WR_Pin;
  GPIO_InitStruct.Mode = GPIO_MODE_OUTPUT_PP;
  GPIO_InitStruct.Pull = GPIO_PULLUP;
  GPIO_InitStruct.Speed = GPIO_SPEED_FREQ_HIGH;
  HAL_GPIO_Init(GPIOB, &GPIO_InitStruct);

}

/************************ (C) COPYRIGHT STMicroelectronics *****END OF FILE****/
